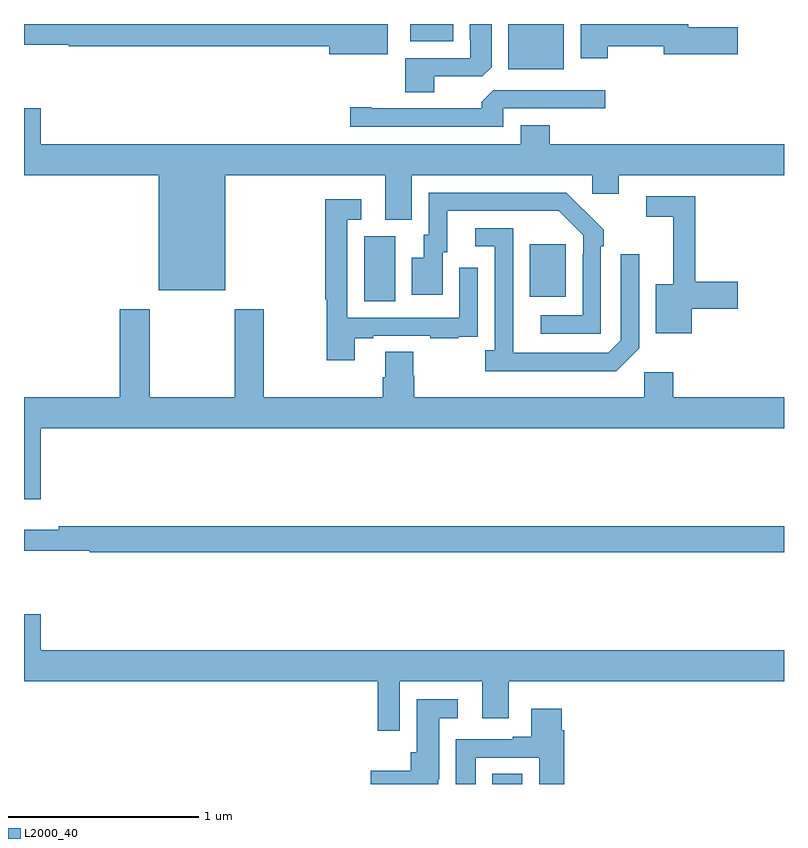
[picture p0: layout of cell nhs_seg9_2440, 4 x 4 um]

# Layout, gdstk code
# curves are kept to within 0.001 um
import gdstk
lib = gdstk.Library(unit=1e-6, precision=1e-09)
def R(c, l, rs):  # rectangles x0, y0, x1, y1
    for r in rs: c.add(gdstk.rectangle(r[:2], r[2:], *l))
def P(c, l, *ps):  # polygons
    for p in ps: c.add(gdstk.Polygon(p, *l))
L2000_40 = (2000, 40)

nhs_seg9_2440 = lib.new_cell('nhs_seg9_2440')
R(nhs_seg9_2440, L2000_40, [(251.465,1242.5,251.623,1242.554), (250.79,1245.04,250.954,1245.384), (251.663,1245.065,251.851,1245.34), (251.549,1246.262,251.842,1246.5), (251.033,1246.409,251.26,1246.5)])
P(nhs_seg9_2440, L2000_40, [(250.915,1246.5),(249,1246.5),(249,1246.392),(249.236,1246.392),(249.236,1246.384),(250.607,1246.384),(250.607,1246.34),(250.915,1246.34)],
  [(252.072,1246.384),(252.368,1246.384),(252.368,1246.342),(252.757,1246.342),(252.757,1246.484),(252.496,1246.484),(252.496,1246.5),(251.93,1246.5),(251.93,1246.32),(252.072,1246.32)],
  [(251.158,1246.224),(251.412,1246.224),(251.461,1246.273),(251.461,1246.5),(251.345,1246.5),(251.345,1246.417),(251.349,1246.417),(251.349,1246.32),(251.006,1246.32),(251.006,1246.141),(251.158,1246.141)],
  [(251.523,1246.056),(252.058,1246.056),(252.058,1246.152),(251.469,1246.152),(251.408,1246.09),(251.408,1246.056),(250.828,1246.056),(250.828,1246.061),(250.716,1246.061),(250.716,1245.96),(251.523,1245.96)],
  [(250.06,1245.704),(250.901,1245.704),(250.901,1245.469),(251.041,1245.469),(251.041,1245.704),(251.991,1245.704),(251.991,1245.606),(252.13,1245.606),(252.13,1245.704),(253,1245.704),(253,1245.868),(251.768,1245.868),(251.768,1245.967),(251.615,1245.967),(251.615,1245.868),(249.088,1245.868),(249.088,1246.057),(249,1246.057),(249,1245.704),(249.71,1245.704),(249.71,1245.098),(250.06,1245.098)],
  [(252.036,1245.329),(252.051,1245.329),(252.051,1245.417),(251.854,1245.612),(251.13,1245.612),(251.13,1245.39),(251.105,1245.39),(251.105,1245.271),(251.042,1245.271),(251.042,1245.075),(251.203,1245.075),(251.203,1245.3),(251.227,1245.3),(251.227,1245.516),(251.815,1245.516),(251.943,1245.387),(251.943,1245.287),(251.94,1245.287),(251.94,1244.967),(251.721,1244.967),(251.721,1244.871),(252.036,1244.871)],
  [(252.514,1245.001),(252.757,1245.001),(252.757,1245.143),(252.533,1245.143),(252.533,1245.594),(252.276,1245.594),(252.276,1245.486),(252.416,1245.486),(252.416,1245.13),(252.326,1245.13),(252.326,1244.873),(252.514,1244.873)],
  [(250.741,1244.847),(250.837,1244.847),(250.837,1244.859),(251.137,1244.859),(251.137,1244.847),(251.285,1244.847),(251.285,1244.853),(251.387,1244.853),(251.387,1244.962),(251.388,1244.962),(251.388,1245.217),(251.292,1245.217),(251.292,1244.955),(250.701,1244.955),(250.701,1245.471),(250.774,1245.471),(250.774,1245.577),(250.585,1245.577),(250.585,1245.052),(250.593,1245.052),(250.593,1244.73),(250.741,1244.73)],
  [(252.237,1244.793),(252.237,1245.289),(252.141,1245.289),(252.141,1244.835),(252.075,1244.769),(251.575,1244.769),(251.574,1245.426),(251.376,1245.426),(251.376,1245.33),(251.478,1245.33),(251.478,1244.782),(251.427,1244.782),(251.427,1244.672),(252.116,1244.672)],
  [(249.088,1244.372),(253,1244.372),(253,1244.536),(252.416,1244.536),(252.416,1244.668),(252.264,1244.668),(252.264,1244.536),(251.054,1244.536),(251.054,1244.649),(251.049,1244.649),(251.049,1244.774),(250.901,1244.774),(250.901,1244.642),(250.889,1244.642),(250.889,1244.536),(250.263,1244.536),(250.263,1244.998),(250.108,1244.998),(250.108,1244.536),(249.663,1244.536),(249.663,1244.998),(249.503,1244.998),(249.503,1244.536),(249,1244.536),(249,1243.998),(249.088,1243.998)],
  [(253,1243.856),(249.184,1243.856),(249.184,1243.837),(249,1243.837),(249,1243.728),(249.345,1243.728),(249.345,1243.72),(253,1243.72)],
  [(250.977,1243.04),(251.411,1243.04),(251.411,1242.846),(251.551,1242.846),(251.551,1243.04),(253,1243.04),(253,1243.204),(249.088,1243.204),(249.088,1243.393),(249,1243.393),(249,1243.04),(250.861,1243.04),(250.861,1242.78),(250.977,1242.78)],
  [(251.181,1242.526),(251.185,1242.526),(251.185,1242.845),(251.284,1242.845),(251.284,1242.946),(251.066,1242.946),(251.066,1242.666),(251.036,1242.666),(251.036,1242.571),(250.824,1242.571),(250.824,1242.5),(251.181,1242.5)],
  [(251.377,1242.639),(251.711,1242.639),(251.711,1242.5),(251.843,1242.5),(251.843,1242.782),(251.83,1242.782),(251.83,1242.895),(251.669,1242.895),(251.669,1242.748),(251.573,1242.748),(251.573,1242.735),(251.273,1242.735),(251.273,1242.5),(251.377,1242.5)])

lib.write_gds('nhs_seg9_2440.gds')
